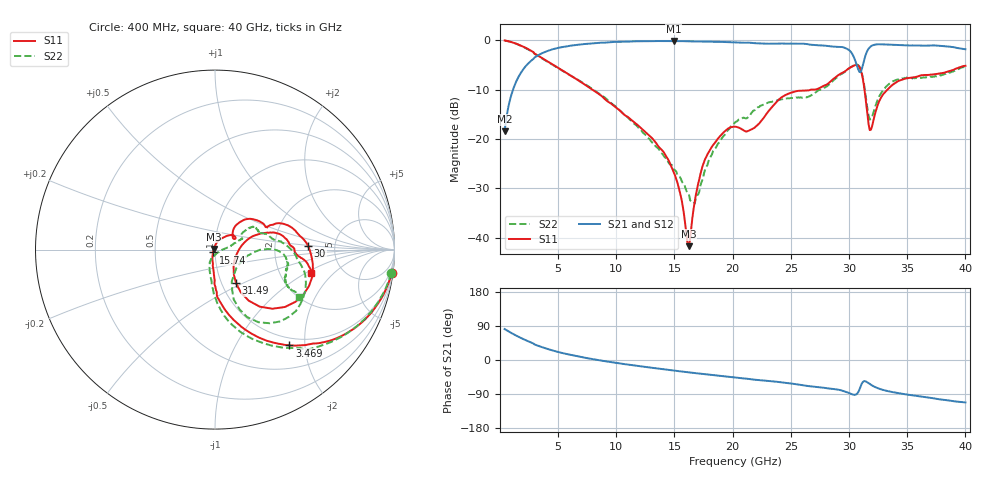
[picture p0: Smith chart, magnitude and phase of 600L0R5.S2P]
!  American Technical Ceramics  Date:  10/27/06
!  One Norden Lane
!  Huntington Station,  NY.  11746-2102
!  Tel:  (631) 622-4700  Fax:  (631) 622-4748
!  Part Number  600L0R5		Mounting Orientation:  Horizontal
!  Description: Ultra Low ESR Microwave capacitors
!  Application: Coupling, Bypass, Tuning, DC Block
!  Filters, Matching
# GHZ S DB R 50
! Freq  |S11|  S11 Ph  |S21|  S21 Ph  |S12|  S12 Ph  |S22|  S22 Ph
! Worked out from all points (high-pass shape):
!   401 points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, 400 MHz to 40 GHz, reference 50 ohm
!   highest |S21| = -0.18 dB at 14.95 GHz (marker M1); lowest = -18.5 dB at 400 MHz (marker M2)
!   |S21| within 3 dB of the highest: 3.2 GHz to 30.36 GHz (27.16 GHz wide, 162 % of centre); 31.4 GHz to end of sweep
!   lowest |S11| = -41.7 dB at 16.24 GHz (marker M3), VSWR 1.02, Z = 49.2 + j0.312 ohm
!   |S11| at or under -10 dB: 7.931 GHz to 26.83 GHz (18.9 GHz wide, 109 % of centre); 26.93 GHz to 27.08 GHz (148.5 MHz wide, 0.55 % of centre); 31.32 GHz to 33.31 GHz (1.985 GHz wide, 6.14 % of centre)
!   |S22| runs from -33.1 to -0.1 dB; largest |S21 - S12| = 0.0065
!   S11 on the Smith chart (normalised r, x): 400 MHz: 1, -15; 3.469 GHz: 0.87, -1.70; 15.74 GHz: 0.98, -0.03; 30 GHz: 3.15, +0.18; 31.49 GHz: 1.17, -0.46; 40 GHz: 3.00, -1.10
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0.4  -0.06 -7.7  -18.47 81.6  -18.48 81.6  -0.10 -7.5
1.489  -0.79 -26.4  -7.92 62.9  -7.93 62.9  -0.83 -26.5
3.469  -3.40 -52.1  -2.82 35.4  -2.83 35.5  -3.46 -54.5
7.033  -8.60 -77.9  -0.84 7.5  -0.84 7.6  -8.51 -81.8
13.666  -21.64 -98.1  -0.18 -22.9  -0.18 -22.9  -22.08 -112.1
14.953  -26.79 -107.8  -0.18 -27.9  -0.17 -27.9  -26.15 -108.0
15.745  -34.15 -125.6  -0.20 -30.9  -0.19 -30.9  -29.00 -95.8
16.24  -41.71 157.3  -0.24 -32.7  -0.23 -32.8  -31.20 -82.0
16.834  -31.38 83.2  -0.26 -34.8  -0.25 -34.8  -32.05 -31.5
17.626  -24.09 64.5  -0.27 -37.5  -0.26 -37.5  -26.23 2.9
20.2  -17.51 31.3  -0.45 -46.3  -0.44 -46.4  -16.66 21.2
21.586  -18.09 38.0  -0.54 -51.0  -0.53 -51.1  -14.81 31.6
24.259  -11.49 39.9  -0.68 -59.3  -0.67 -59.4  -11.96 30.2
26.833  -10.00 23.0  -0.95 -69.8  -0.94 -70.0  -11.04 19.0
28.714  -7.74 20.4  -1.32 -76.8  -1.32 -76.9  -8.02 3.6
30.001  -5.69 2.3  -2.01 -87.1  -2.01 -87.2  -5.66 -15.5
30.496  -5.07 -12.0  -3.90 -91.9  -3.91 -92.0  -5.03 -29.1
30.892  -5.43 -32.8  -6.44 -78.2  -6.45 -78.4  -5.33 -47.6
31.486  -13.12 -58.0  -2.61 -57.1  -2.63 -57.4  -12.22 -67.0
31.882  -18.14 -11.3  -1.24 -65.2  -1.26 -65.5  -15.93 -27.8
33.466  -9.64 16.7  -0.91 -83.0  -0.93 -83.2  -8.81 -2.1
40  -5.19 -13.5  -1.84 -112.0  -1.86 -112.3  -5.38 -29.3
